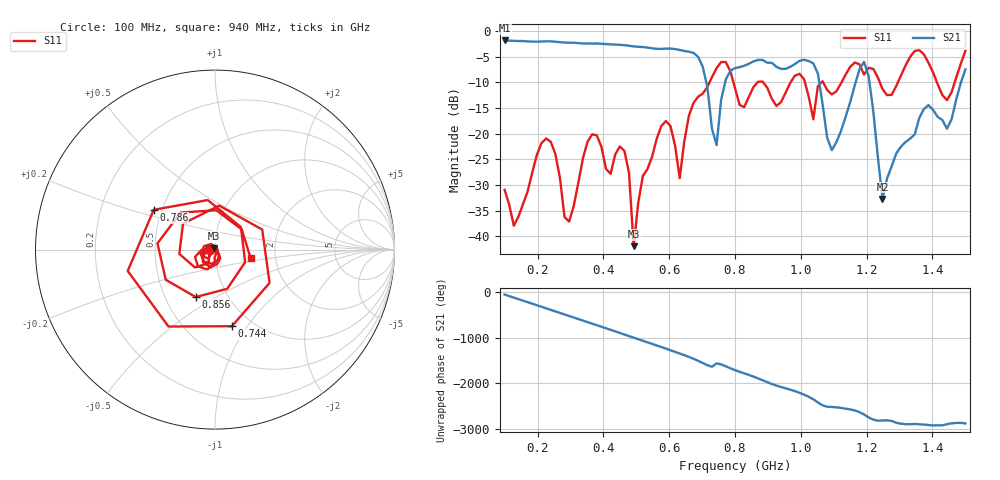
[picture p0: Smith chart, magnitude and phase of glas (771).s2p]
! NanoVNA-App
! Date: 2025-09-25 16:01:28
! Start: 100MHz Stop: 1,5GHz Points: 101
! S-Parameter data: F S11 S21 S12 S22
# Hz S RI R 50
!  Frequency  S11_Real  S11_Imag  S21_Real  S21_Imag  S12_Real  S12_Imag  S22_Real  S22_Imag
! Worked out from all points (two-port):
!   101 points, 100 MHz to 1.5 GHz, reference 50 ohm
!   highest |S21| = -1.80 dB at 100 MHz (marker M1); lowest = -32.7 dB at 1.248 GHz (marker M2)
!   |S21| within 3 dB of the highest: start of sweep to 684.3 MHz
!   lowest |S11| = -41.9 dB at 492 MHz (marker M3), VSWR 1.02, Z = 49.5 + j0.615 ohm
!   |S11| at or under -10 dB: start of sweep to 722.4 MHz; 795.4 MHz to 868 MHz (72.61 MHz wide, 8.73 % of centre); 886 MHz to 968.6 MHz (82.61 MHz wide, 8.91 % of centre) (the widest 3 of 7)
!   S12 and S22 are empty: the file has one direction only
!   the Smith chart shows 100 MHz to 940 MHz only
!   S11 on the Smith chart (normalised r, x): 100 MHz: 0.94, -0.01; 744 MHz: 0.81, -0.85; 786 MHz: 0.45, +0.24; 856 MHz: 0.71, -0.41; 940 MHz: 1.49, -0.15
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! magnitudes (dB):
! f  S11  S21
! 100 MHz  -30.9  -1.8
! 128 MHz  -37.9  -1.9
! 226 MHz  -20.9  -2.0
! 296 MHz  -37.1  -2.2
! 338 MHz  -24.8  -2.4
! 464 MHz  -23.3  -2.7
! 492 MHz  -41.9  -3.0
! 576 MHz  -18.5  -3.4
! 632 MHz  -28.6  -3.7
! 702 MHz  -12.2  -6.9
! 744 MHz  -7.2  -22.2
! 786 MHz  -7.8  -7.7
! 800 MHz  -11.1  -7.2
! 856 MHz  -10.9  -5.9
! 940 MHz  -13.8  -7.4
! 1.038 GHz  -17.2  -6.3
! 1.094 GHz  -12.3  -23.2
! 1.192 GHz  -8.5  -6.0
! 1.248 GHz  -11.3  -32.7
! 1.276 GHz  -12.4  -26.3
! 1.444 GHz  -13.4  -19.0
! 1.5 GHz  -3.9  -7.5
